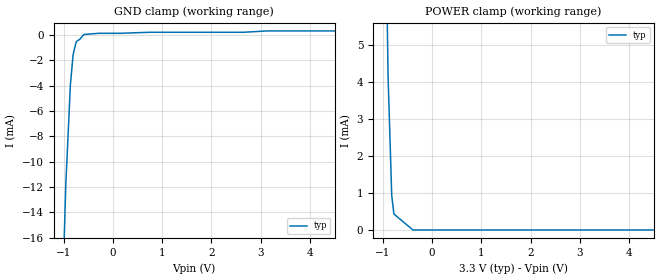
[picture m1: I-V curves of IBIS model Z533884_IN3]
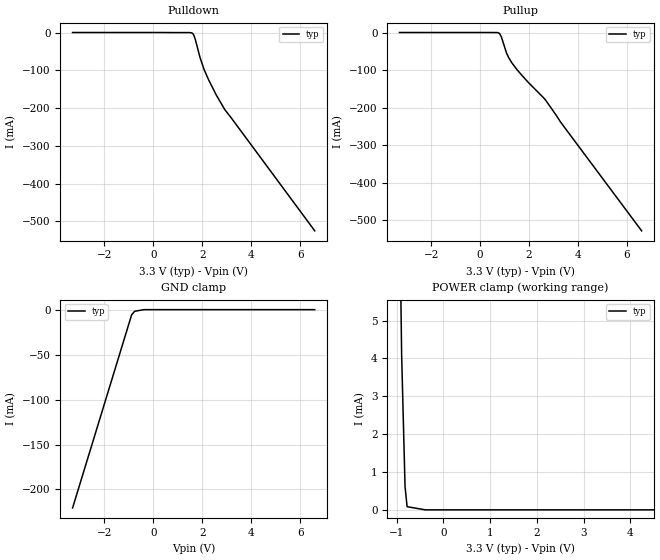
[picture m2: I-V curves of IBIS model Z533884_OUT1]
| YOU ARE ONLY AUTHORIZED TO USE THIS SOFTWARE
| ACCORDING TO LICENSOR'S LICENSE RESTRICTIONS.
[IBIS Ver] 3.1
[File Name] mc100lvelt22d.ibs
[File Rev] 3
[Source] Measured and created by ICX Technology
[Date] 7/29/2003
[Copyright]
| (C) COPYRIGHT 1993-2000
| MENTOR GRAPHICS CORPORATION
| ICX STANDARD LIBRARY, ICX PROJECT MODELING,
| ICX CUSTOM MODELING, ICX VENDOR MODEL
| ALL RIGHTS RESERVED.
| THE FOLLOWING ARE TRADEMARKS OR SERVICE MARKS OF
| MENTOR GRAPHICS CORPORATION:ICX (R), ICX STANDARD
| LIBRARY(R), ICX PROJECT MODELING(R), ICX CUSTOM
| MODELING(R), qualityIBIS(TM), MODELVIEWER(TM),
| AND MODELEDITOR(TM)
| ALL COPIES OF SOFTWARE, INCLUDING BUT NOT LIMITED TO
| ANY MODIFICATIONS, ENHANCEMENTS OR DERIVATIVE WORKS,
| MUST CONTAIN ALL MENTOR GRAPHICS CORPORATION'S
| NOTICES AND LEGENDS, INCLUDING THOSE EMBEDDED IN
| SOFTWARE AND THOSE AFFIXED TO SOFTWARE MEDIUM
| AND CONTAINER, AS RECEIVED FROM MENTOR GRAPHICS
| CORPORATION.
|  ZAP Model Builder 2.7
[Component] MC100LVELT22D
[Manufacturer] OnSemiconductor
[Package]
| variable   typ   min   max
R_pkg  .152ohms NA NA
L_pkg  2.714nH NA NA
C_pkg  .364pF NA NA
[Pin] signal_name  model_name  R_pin  L_pin C_pin
1 Q0 Z533884_OUT1 .154 2.924n .374p
2 _Q0 Z533884_OUT2 .15 2.504n .354p
3 Q1 Z533884_OUT1 .15 2.504n .354p
4 _Q1 Z533884_OUT2 .154 2.924n .374p
5 GND GND .154 2.924n .374p
6 D1 Z533884_IN3 .15 2.504n .354p
7 D0 Z533884_IN3 .15 2.504n .354p
8 VCC POWER .154 2.924n .374p
[Diff Pin] inv_pin vdiff tdelay_typ tdelay_min tdelay_max
1 2 NA 350ps 200ps 600ps
3 4 NA 350ps 200ps 600ps
| Models and submodels in the file (3): Z533884_IN3 (Input_ECL), Z533884_OUT1 (Output_ECL), Z533884_OUT2 (Output_ECL)
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| (C) COPYRIGHT 1993-2000
| MENTOR GRAPHICS CORPORATION
| ICX STANDARD LIBRARY, ICX PROJECT MODELING,
| ICX CUSTOM MODELING, ICX VENDOR MODEL
| ALL RIGHTS RESERVED.
| THE FOLLOWING ARE TRADEMARKS OR SERVICE MARKS OF
| MENTOR GRAPHICS CORPORATION:ICX (R), ICX STANDARD
| LIBRARY(R), ICX PROJECT MODELING(R), ICX CUSTOM
| MODELING(R), qualityIBIS(TM), MODELVIEWER(TM),
| AND MODELEDITOR(TM)
| ALL COPIES OF SOFTWARE, INCLUDING BUT NOT LIMITED TO
| ANY MODIFICATIONS, ENHANCEMENTS OR DERIVATIVE WORKS,
| MUST CONTAIN ALL MENTOR GRAPHICS CORPORATION'S
| NOTICES AND LEGENDS, INCLUDING THOSE EMBEDDED IN
| SOFTWARE AND THOSE AFFIXED TO SOFTWARE MEDIUM
| AND CONTAINER, AS RECEIVED FROM MENTOR GRAPHICS
| CORPORATION.
| Model Application Version 1.89 2/18/99.
[Model] Z533884_IN3
Model_type Input_ECL
Vinl = 0.800V
Vinh = 2.000V
C_comp 2.000pF NA NA
| variable typ   min   max
[Voltage Range] 3.300V NA NA
[GND Clamp Reference] 0.000V NA NA
[POWER Clamp Reference] 3.300V NA NA
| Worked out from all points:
|   GND clamp passes 1 mA (typ) near -0.77 V on its own axis
|   POWER clamp passes 1 mA (typ) near -0.82 V on its own axis
[GND Clamp]
-3.3V     -423.7mA   NA         NA
-1.044V   -23.23mA   NA         NA
-957mV    -11.84mA   NA         NA
-864mV    -3.967mA   NA         NA
-809.1mV  -1.569mA   NA         NA
-751.9mV  -625.3uA   NA         NA
-732.3mV  -487.5uA   NA         NA
-590.8mV  35.01uA    NA         NA
748.1mV   210.2uA    NA         NA
2.647V    210.2uA    NA         NA
3.122V    316.1uA    NA         NA
6.6V      316.1uA    NA         NA
[POWER Clamp]
-3.3V     757.2mA    NA         NA
-1.069V   27.22mA    NA         NA
-1.005V   14.63mA    NA         NA
-894mV    4.144mA    NA         NA
-820mV    934.9uA    NA         NA
-776mV    432.2uA    NA         NA
-388mV    0A         NA         NA
6.6V      0A         NA         NA
| (C) COPYRIGHT 1993-2000
| MENTOR GRAPHICS CORPORATION
| ICX STANDARD LIBRARY, ICX PROJECT MODELING,
| ICX CUSTOM MODELING, ICX VENDOR MODEL
| ALL RIGHTS RESERVED.
| THE FOLLOWING ARE TRADEMARKS OR SERVICE MARKS OF
| MENTOR GRAPHICS CORPORATION:ICX (R), ICX STANDARD
| LIBRARY(R), ICX PROJECT MODELING(R), ICX CUSTOM
| MODELING(R), qualityIBIS(TM), MODELVIEWER(TM),
| AND MODELEDITOR(TM)
| ALL COPIES OF SOFTWARE, INCLUDING BUT NOT LIMITED TO
| ANY MODIFICATIONS, ENHANCEMENTS OR DERIVATIVE WORKS,
| MUST CONTAIN ALL MENTOR GRAPHICS CORPORATION'S
| NOTICES AND LEGENDS, INCLUDING THOSE EMBEDDED IN
| SOFTWARE AND THOSE AFFIXED TO SOFTWARE MEDIUM
| AND CONTAINER, AS RECEIVED FROM MENTOR GRAPHICS
| CORPORATION.
| Model Application Version 1.89 2/18/99.
[Model] Z533884_OUT1
Model_type Output_ECL
Vref=1.300V
Rref=50.00ohms
Cref=0.000F
Vmeas=2.200V
C_comp 2.000pF NA NA
| variable typ   min   max
[Voltage Range] 3.300V NA NA
[POWER Clamp Reference] 3.300V NA NA
[Pullup Reference] 3.300V NA NA
[Pulldown Reference] 3.300V NA NA
[GND Clamp Reference] 0.000V NA NA
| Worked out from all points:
|   POWER clamp passes 1 mA (typ) near -0.83 V on its own axis
[GND Clamp]
-3.3V     -220.6mA   NA         NA
-885.8mV  -5.811mA   NA         NA
-761.4mV  -1.812mA   NA         NA
-380.7mV  0A         NA         NA
6.6V      0A         NA         NA
[Pulldown]
-3.3V     277.2uA    NA         NA
1.595V    -1.533mA   NA         NA
1.65V     -6.019mA   NA         NA
1.718V    -18.2mA    NA         NA
1.905V    -64.74mA   NA         NA
2.07V     -96.83mA   NA         NA
2.26V     -124.9mA   NA         NA
2.573V    -165.2mA   NA         NA
2.929V    -204.6mA   NA         NA
6.6V      -525.1mA   NA         NA
[Pullup]
-3.3V     263.4uA    NA         NA
680mV     110.2uA    NA         NA
795mV     -2.69mA    NA         NA
868mV     -11.63mA   NA         NA
1.078V    -54.63mA   NA         NA
1.29V     -80.11mA   NA         NA
1.747V    -116.9mA   NA         NA
2.679V    -180.3mA   NA         NA
3.291V    -238.7mA   NA         NA
6.6V      -528.1mA   NA         NA
[POWER Clamp]
-3.3V     560.9mA    NA         NA
-1.072V   24.39mA    NA         NA
-1.005V   14.48mA    NA         NA
-894mV    4.104mA    NA         NA
-821mV    617.7uA    NA         NA
-777mV    83.4uA     NA         NA
-388.5mV  0A         NA         NA
6.6V      0A         NA         NA
[Ramp]
| variable typ min max
dV/dt_r 486.8m/169.8p NA NA
dV/dt_f 486.8m/178.4p NA NA
R_load = 50.0Ohms
